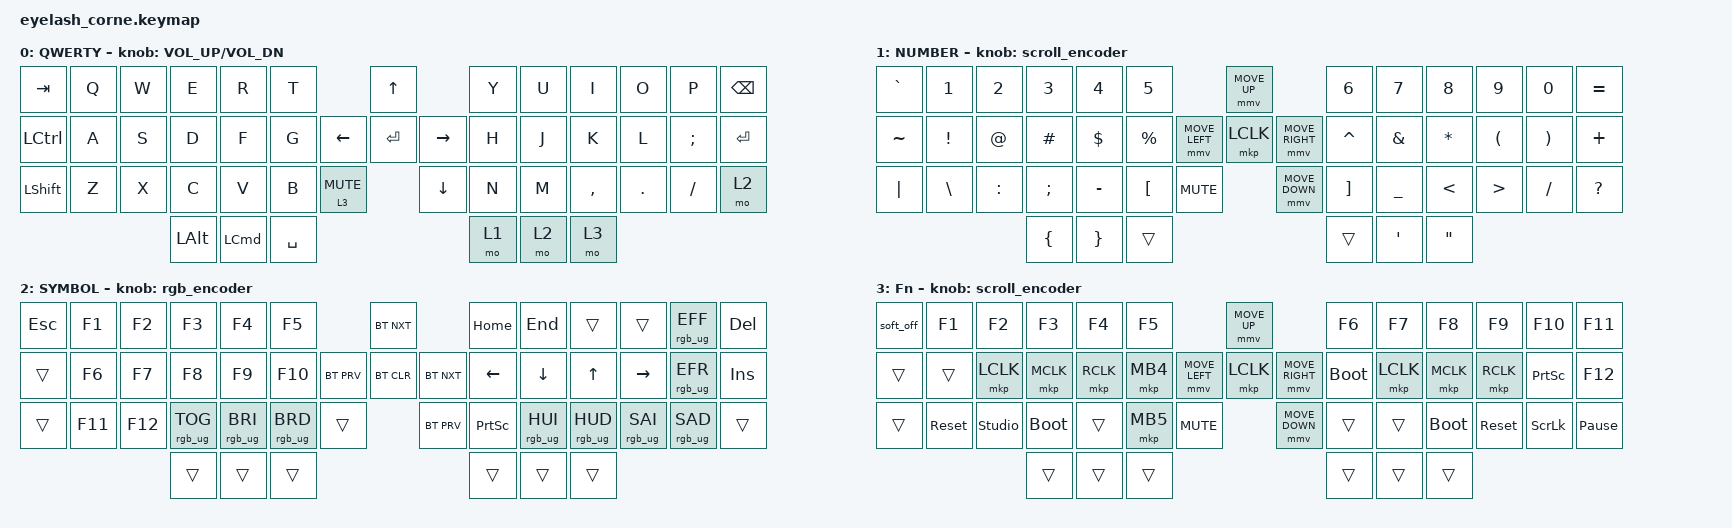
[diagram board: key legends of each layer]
#define ZMK_POINTING_DEFAULT_MOVE_VAL 1200  // 600
#define ZMK_POINTING_DEFAULT_SCRL_VAL 25   // 10

#include <input/processors.dtsi>
#include <zephyr/dt-bindings/input/input-event-codes.h>
#include <behaviors.dtsi>
#include <dt-bindings/zmk/bt.h>
#include <dt-bindings/zmk/keys.h>
#include <dt-bindings/zmk/pointing.h>
#include <dt-bindings/zmk/rgb.h>

&mmv_input_listener { input-processors = <&zip_xy_scaler 2 1>; };

&msc_input_listener { input-processors = <&zip_scroll_scaler 2 1>; };

&msc {
    acceleration-exponent = <1>;      // 0
    time-to-max-speed-ms = <100>;       // 300
    delay-ms = <0>;                   // 0
};

&mmv {
    time-to-max-speed-ms = <500>;
    acceleration-exponent = <1>;
    trigger-period-ms = <16>;
};

&soft_off { hold-time-ms = <2000>; };

/ {
    behaviors {
        td0: td0 {
            compatible = "zmk,behavior-tap-dance";
            display-name = "Shift/Caps Lock Tap Dance";
            #binding-cells = <0>;
            bindings = <&kp LEFT_SHIFT>, <&kp CAPS>;
        };
    };

    rgb_encoder: rgb_encoder {
        compatible = "zmk,behavior-sensor-rotate";
        #sensor-binding-cells = <0>;
        bindings = <&rgb_ug RGB_BRI>, <&rgb_ug RGB_BRD>;
    };

    scroll_encoder: scroll_encoder {
        compatible = "zmk,behavior-sensor-rotate";
        #sensor-binding-cells = <0>;
        bindings = <&msc SCRL_DOWN>, <&msc SCRL_UP>;

        tap-ms = <100>;
    };

    combos {
        compatible = "zmk,combos";

        softoff {
            bindings = <&soft_off>;
            key-positions = <1 15 29>;
        };
    };

    keymap {
        compatible = "zmk,keymap";

        default_layer {
            display-name = "QWERTY";
            bindings = <
&kp TAB         &kp Q  &kp W  &kp E         &kp R             &kp T                                &kp UP                &kp Y  &kp U  &kp I      &kp O    &kp P     &kp BSPC
&kp LCTRL       &kp A  &kp S  &kp D         &kp F             &kp G                      &kp LEFT  &kp ENTER  &kp RIGHT  &kp H  &kp J  &kp K      &kp L    &kp SEMI  &kp ENTER
&kp LEFT_SHIFT  &kp Z  &kp X  &kp C         &kp V             &kp B      &lt 3 C_MUTE              &kp DOWN              &kp N  &kp M  &kp COMMA  &kp DOT  &kp FSLH  &mo 2
                              &kp LEFT_ALT  &kp LEFT_COMMAND  &kp SPACE                                                  &mo 1  &mo 2  &mo 3
            >;

            sensor-bindings = <&inc_dec_kp C_VOLUME_UP C_VOL_DN>;
        };

        lower_layer {
            display-name = "NUMBER";
            bindings = <
&kp GRAVE  &kp N1           &kp N2       &kp N3          &kp N4           &kp N5                                          &mmv MOVE_UP                     &kp N6             &kp N7            &kp N8             &kp N9                &kp N0                 &kp EQUAL
&kp TILDE  &kp EXCLAMATION  &kp AT_SIGN  &kp HASH        &kp DOLLAR       &kp PERCENT                     &mmv MOVE_LEFT  &mkp LCLK       &mmv MOVE_RIGHT  &kp CARET          &kp AMPERSAND     &kp ASTERISK       &kp LEFT_PARENTHESIS  &kp RIGHT_PARENTHESIS  &kp PLUS
&kp PIPE   &kp BACKSLASH    &kp COLON    &kp SEMICOLON   &kp MINUS        &kp LEFT_BRACKET  &kp C_MUTE                    &mmv MOVE_DOWN                   &kp RIGHT_BRACKET  &kp UNDERSCORE    &kp LESS_THAN      &kp GREATER_THAN      &kp SLASH              &kp QUESTION
                                         &kp LEFT_BRACE  &kp RIGHT_BRACE  &trans                                                                           &trans             &kp SINGLE_QUOTE  &kp DOUBLE_QUOTES
            >;

            sensor-bindings = <&scroll_encoder>;
        };

        raise_layer {
            display-name = "SYMBOL";
            bindings = <
&kp ESCAPE  &kp F1   &kp F2   &kp F3           &kp F4           &kp F5                                 &bt BT_NXT              &kp HOME         &kp END          &trans           &trans           &rgb_ug RGB_EFF  &kp DELETE
&trans      &kp F6   &kp F7   &kp F8           &kp F9           &kp F10                    &bt BT_PRV  &bt BT_CLR  &bt BT_NXT  &kp LEFT         &kp DOWN         &kp UP_ARROW     &kp RIGHT_ARROW  &rgb_ug RGB_EFR  &kp INS
&trans      &kp F11  &kp F12  &rgb_ug RGB_TOG  &rgb_ug RGB_BRI  &rgb_ug RGB_BRD  &trans                &bt BT_PRV              &kp PRINTSCREEN  &rgb_ug RGB_HUI  &rgb_ug RGB_HUD  &rgb_ug RGB_SAI  &rgb_ug RGB_SAD  &trans
                              &trans           &trans           &trans                                                         &trans           &trans           &trans
            >;

            sensor-bindings = <&rgb_encoder>;
        };

        layer_3 {
            display-name = "Fn";
            bindings = <
&soft_off  &kp F1      &kp F2          &kp F3       &kp F4     &kp F5                                  &mmv MOVE_UP                     &kp F6       &kp F7     &kp F8       &kp F9      &kp F10          &kp F11
&trans     &trans      &mkp LCLK       &mkp MCLK    &mkp RCLK  &mkp MB4                &mmv MOVE_LEFT  &mkp LCLK       &mmv MOVE_RIGHT  &bootloader  &mkp LCLK  &mkp MCLK    &mkp RCLK   &kp PRINTSCREEN  &kp F12
&trans     &sys_reset  &studio_unlock  &bootloader  &trans     &mkp MB5  &kp C_MUTE                    &mmv MOVE_DOWN                   &trans       &trans     &bootloader  &sys_reset  &kp SCROLLLOCK   &kp PAUSE_BREAK
                                       &trans       &trans     &trans                                                                   &trans       &trans     &trans
            >;

            sensor-bindings = <&scroll_encoder>;
        };
    };
};
